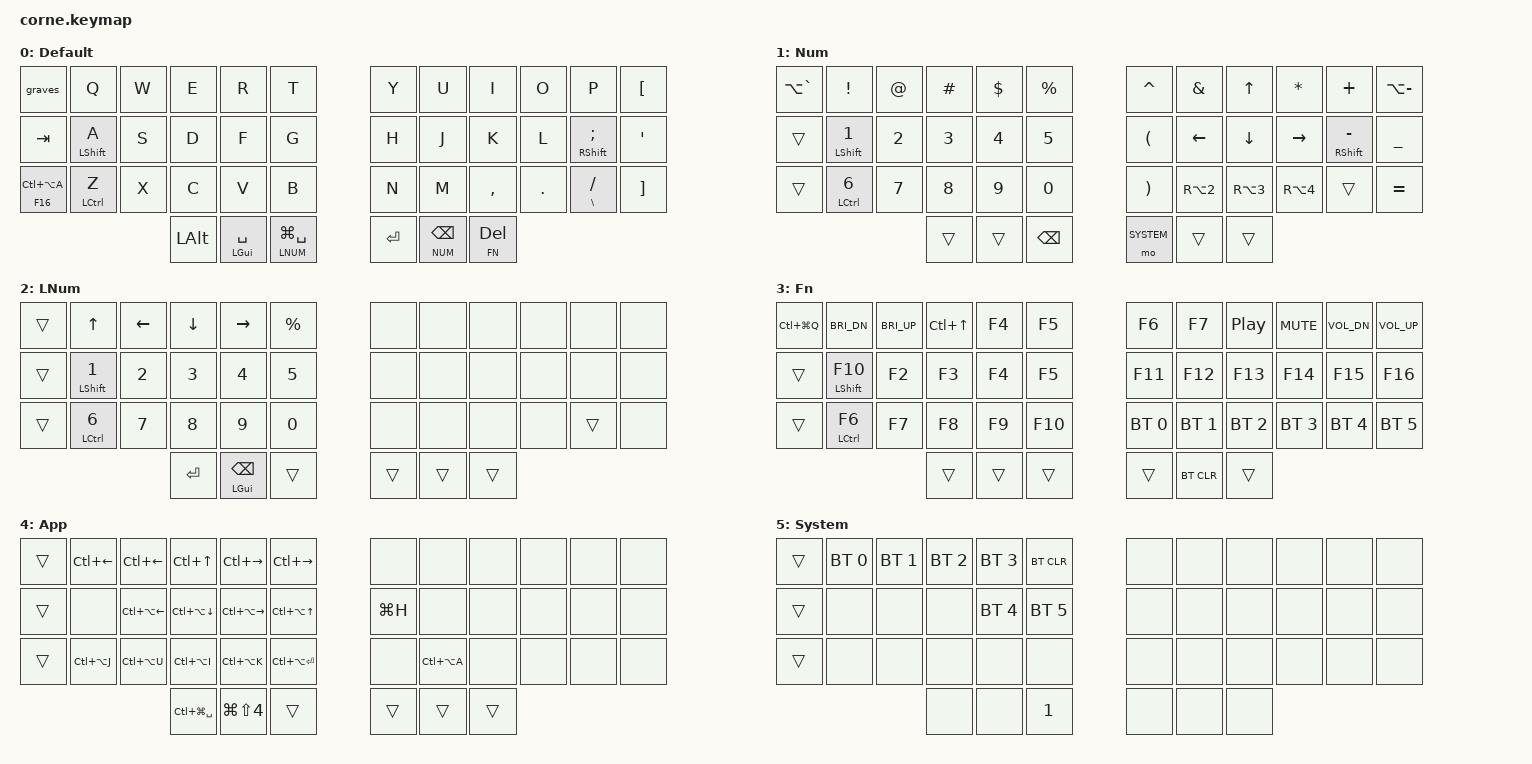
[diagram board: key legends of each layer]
/*
 * Copyright (c) 2020 The ZMK Contributors
 *
 * SPDX-License-Identifier: MIT
 */

#include <behaviors.dtsi>
#include <dt-bindings/zmk/keys.h>
#include <dt-bindings/zmk/bt.h>
#include <dt-bindings/zmk/outputs.h>

/* Слои клавиатуры */
#define DEFAULT 0  // Базовый слой
#define NUM     1  // Слой с цифрами
#define LNUM    2  // Альтернативный слой с цифрами (левая рука)
#define FN      3  // Функциональный слой
#define APP     4  // Слой для приложений
#define SYSTEM  5  // Системный слой

/* Настройка параметров удержания/тапа */
&lt { quick-tap-ms = <200>; };
&mt { quick-tap-ms = <200>; };

/ {
    combos {
        label = "Combos for Caps Word";
        compatible = "zmk,combos";
        
        /* Комбо для клавиш A и SEMI, используемое для активации capslock */
        combo_caps_asemi{
            timeout-ms = <150>;             // Таймаут для комбо — 100 мс, позволяет избежать случайных нажатий
            key-positions = <13 22>;        // Позиции клавиш A и SEMI
            bindings = <&kp CAPSLOCK>;      // Привязка к Caps Lock
        };

        // /* Комбо для клавиш F и J, теперь включает Caps Word */
        // combo_capslock_fj {
        //     timeout-ms = <50>;
        //     key-positions = <16 19>;
        //     bindings = <&caps_word>;
        // };

    };

    behaviors {

    //   /* Поведение для Tap Dance на левой руке */
    //   lnum_mod_combo: lnum_mod_combo {
    //         compatible = "zmk,behavior-tap-dance";
    //         #binding-cells = <0>;
    //         tapping-term-ms = <200>;
    //         bindings = <&ltp LNUM LG(LA(N2))>, <&kp LG(LA(N1))>;
    //     };
      
        /* Модификатор для клавиши Grave/Escape */
        graves: grave_escape {
            compatible = "zmk,behavior-mod-morph";
            #binding-cells = <0>;
            bindings = <&ltp APP GRAVE>, <&kp ESC>;
            mods = <(MOD_LGUI|MOD_RGUI)>;
        };
      
        /* Модификаторы для домашнего ряда (HOMEROW) */
        hm: homerow_mods {
            compatible = "zmk,behavior-hold-tap";
            label = "HOMEROW_MODS";
            #binding-cells = <2>;
            tapping_term_ms = <300>;
            quick-tap-ms = <300>;
            flavor = "tap-preferred";
            bindings = <&kp>, <&kp>;
        };


        /* Приоритет тапа для переключения слоёв */
        ltp: layer_tap_prefered {
            compatible = "zmk,behavior-hold-tap";
            label = "LAYER_TAP_PREFERED";
            #binding-cells = <2>;
            tapping_term_ms = <200>;
            quick-tap-ms = <150>;
            flavor = "tap-preferred";
            bindings = <&mo>, <&kp>;
        };

        /* Приоритет удержания для переключения слоёв */
        lhp: layer_hold_prefered {
            compatible = "zmk,behavior-hold-tap";
            label = "LAYER_HOLD_PREFERED";
            #binding-cells = <2>;
            tapping_term_ms = <250>;
            flavor = "hold-preferred";
            bindings = <&mo>, <&kp>;
        };
    };

    keymap {
        compatible = "zmk,keymap";

        /* Основной слой клавиатуры */
        default_layer {
            label = "Default";
            bindings = <
                &graves                &kp Q          &kp W        &kp E   &kp R   &kp T         &kp Y        &kp U      &kp I         &kp O      &kp P             &kp LBKT
                &kp TAB                &hm LSHFT A    &kp S        &kp D   &kp F   &kp G         &kp H        &kp J      &kp K         &kp L      &hm RSHFT SEMI    &kp APOS
                &hm F16 LC(LA(A))    &hm LCTRL Z    &kp X        &kp C   &kp V   &kp B         &kp N        &kp M      &kp COMMA     &kp DOT    &mt BSLH FSLH     &kp RBKT
                                       &kp LALT       &hm LGUI SPACE   &ltp LNUM LG(SPACE)       &kp ENTER    &lhp NUM BSPC     &ltp FN DEL
                                    //    &hm LALT LG(LA(N1))       &hm LGUI SPACE   &ltp LNUM LG(LA(N2))       &hm RSHFT ENTER   &lhp NUM BSPC     &ltp FN DEL
            >; 
        };

        /* Слой с цифрами и символами */
        num_layer {
            label = "Num";
            bindings = <
                &kp LA(GRAVE) &kp EXCL &kp AT &kp HASH &kp DLLR &kp PERCENT        &kp CARET      &kp AMPS      &kp UP      &kp STAR      &kp PLUS           &kp LA(MINUS)
                &trans        &hm LSHFT N1 &kp N2 &kp N3 &kp N4 &kp N5             &kp LPAR       &kp LEFT      &kp DOWN    &kp RIGHT     &hm RSHFT MINUS    &kp UNDER
                &trans        &hm LCTRL N6 &kp N7 &kp N8 &kp N9 &kp N0             &kp RPAR       &kp RA(N2)    &kp RA(N3)  &kp RA(N4)    &trans             &kp EQUAL
                              &trans        &trans        &kp BSPC                  &mo SYSTEM     &trans        &trans  
            >;
        };

        /* Альтернативный слой цифр (для левой руки) */
        lnum_layer {
            label = "LNum";
            bindings = <
                &trans     &kp UP     &kp LEFT  &kp DOWN  &kp RIGHT   &kp PERCENT       &none     &none       &none     &none       &none       &none
                &trans     &hm LSHFT N1 &kp N2 &kp N3 &kp N4 &kp N5                     &none     &none       &none     &none       &none       &none
                &trans     &hm LCTRL N6 &kp N7 &kp N8 &kp N9 &kp N0                     &none     &none       &none     &none       &trans      &none 
                                          &kp ENTER  &hm LGUI BSPC  &trans              &trans    &trans      &trans    
            >;
        };    

        /* Функциональный слой */
        fn_layer {
            label = "Fn";
            bindings = <
                &kp LC(LG(Q))  &kp C_BRI_DN  &kp C_BRI_UP  &kp LC(UP)  &kp F4  &kp F5   &kp F6          &kp F7          &kp C_PP        &kp C_MUTE      &kp C_VOL_DN  &kp C_VOL_UP
                &trans         &hm LSHFT F10 &kp F2        &kp F3      &kp F4  &kp F5   &kp F11         &kp F12         &kp F13         &kp F14         &kp F15       &kp F16
                &trans         &hm LCTRL F6  &kp F7        &kp F8      &kp F9  &kp F10  &bt BT_SEL 0    &bt BT_SEL 1    &bt BT_SEL 2    &bt BT_SEL 3    &bt BT_SEL 4  &bt BT_SEL 5
                                             &trans        &trans      &trans  &trans   &bt BT_CLR      &trans  
            >;
        };

        /* Слой для приложений с специфическими сочетаниями клавиш */
        app_layer {
            label = "App";
            bindings = <  
                &trans  &kp LC(LEFT)       &kp LC(LEFT)         &kp LC(UP)              &kp LC(RIGHT)            &kp LC(RIGHT)      &none   &none           &none     &none       &none         &none
                &trans  &none              &kp LC(LA(LEFT))     &kp LC(LA(DOWN))        &kp LC(LA(RIGHT))        &kp LC(LA(UP))     &kp LG(H)   &none       &none     &none       &none         &none
                &trans  &kp LC(LA(J))      &kp LC(LA(U))        &kp LC(LA(I))           &kp LC(LA(K))            &kp LC(LA(ENTER))  &none   &kp LC(LA(A))   &none     &none       &none         &none
                        &kp LC(LG(SPACE))  &kp LG(LS(N4))       &trans                                                               &trans  &trans          &trans
            >;
        };

        /* Системный слой для управления Bluetooth и т.д. */
        system_layer {
            label = "System";
            bindings = <
                &trans  &bt BT_SEL 0    &bt BT_SEL 1    &bt BT_SEL 2    &bt BT_SEL 3    &bt BT_CLR           &none        &none        &none        &none        &none   &none
                &trans  &none           &none           &none           &bt BT_SEL 4    &bt BT_SEL 5         &none        &none        &none        &none        &none   &none
                &trans  &none           &none           &none           &none           &none                &none        &none        &none        &none        &none   &none
                                        &none           &none           &kp N1          &none                &none        &none
            >;
        };
    };
};
